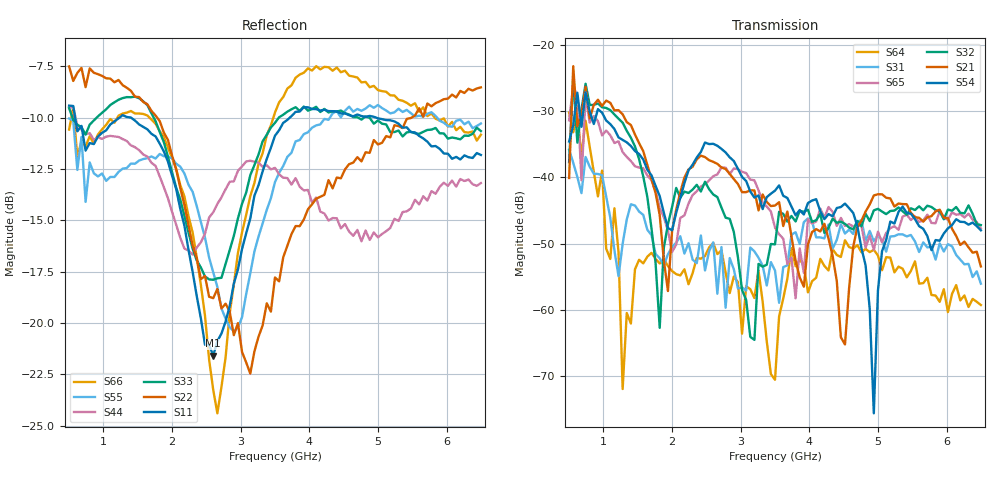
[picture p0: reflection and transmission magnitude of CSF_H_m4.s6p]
!Keysight Technologies,M9804A,MY58100912,A.14.10.03
!Date: Thursday, April 27, 2023 10:28:33
!Correction: S11(C  6-Port  )
!S12(C  6-Port  )
!S13(C  6-Port  )
!S14(C  6-Port  )
!S15(C  6-Port  )
!S16(C  6-Port  )
!S21(C  6-Port  )
!S22(C  6-Port  )
!S23(C  6-Port  )
!S24(C  6-Port  )
!S25(C  6-Port  )
!S26(C  6-Port  )
!S31(C  6-Port  )
!S32(C  6-Port  )
!S33(C  6-Port  )
!S34(C  6-Port  )
!S35(C  6-Port  )
!S36(C  6-Port  )
!S41(C  6-Port  )
!S42(C  6-Port  )
!S43(C  6-Port  )
!S44(C  6-Port  )
!S45(C  6-Port  )
!S46(C  6-Port  )
!S51(C  6-Port  )
!S52(C  6-Port  )
!S53(C  6-Port  )
!S54(C  6-Port  )
!S55(C  6-Port  )
!S56(C  6-Port  )
!S61(C  6-Port  )
!S62(C  6-Port  )
!S63(C  6-Port  )
!S64(C  6-Port  )
!S65(C  6-Port  )
!S66(C  6-Port  )
!S6P File: Measurement: :
# Hz S  RI  R 50
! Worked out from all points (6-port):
!   101 points, 500 MHz to 6.5 GHz, reference 50 ohm
!   strongest paths, dB at 500 MHz, 2 GHz, 3.5 GHz, 5 GHz, 6.5 GHz:
!     S54: -34.6, -48.0, -42.0, -57.1, -48.0
!     S21: -40.1, -48.1, -44.3, -42.5, -53.4
!     S32: -37.7, -44.5, -50.1, -44.8, -47.2
!     S65: -31.4, -51.2, -47.6, -48.2, -47.7
!     S31: -35.8, -50.5, -54.0, -48.7, -56.0
!     S64: -30.3, -54.1, -70.5, -51.8, -59.2
!   lowest |S11| = -21.6 dB at 2.6 GHz (marker M1), VSWR 1.18, Z = 42.6 + j2.06 ohm
!   |S11| at or under -10 dB: 587.7 MHz to 1.233 GHz (645.7 MHz wide, 70.9 % of centre); 1.402 GHz to 3.715 GHz (2.314 GHz wide, 90.4 % of centre); 4.974 GHz to end of sweep
